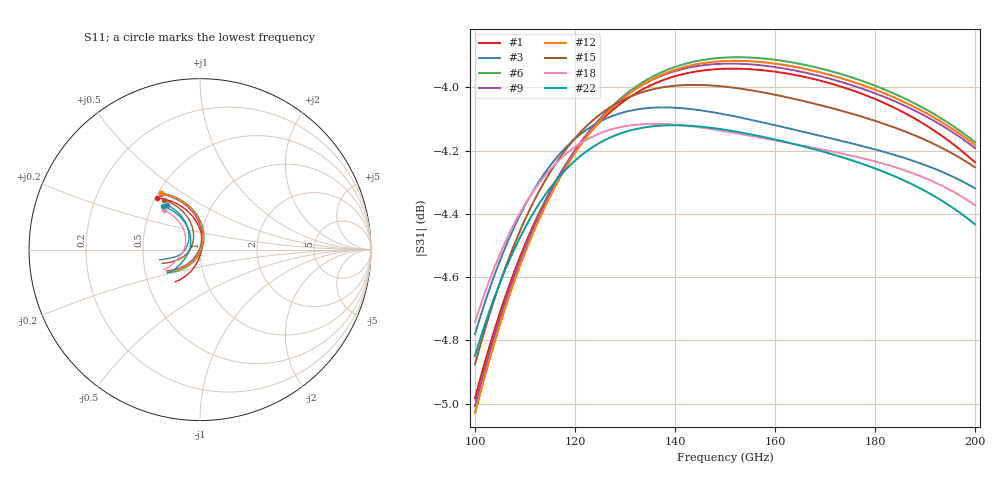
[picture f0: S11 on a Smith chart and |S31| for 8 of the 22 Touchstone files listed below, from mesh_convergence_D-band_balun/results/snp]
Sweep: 100 GHz to 200 GHz
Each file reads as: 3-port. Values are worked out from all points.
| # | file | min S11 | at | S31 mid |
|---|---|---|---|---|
| 1 | balun_amr5_final.s3p | -40.7 dB | 148 GHz | -3.9 dB at 150 GHz |
| 2 | balun_amr5_final_raw.s3p | -36.7 dB | 149 GHz | -3.9 dB at 150 GHz |
| 3 | balun_amr5_iter1.s3p | -22.2 dB | 132 GHz | -4.1 dB at 150 GHz |
| 4 | balun_amr5_iter2.s3p | -29.5 dB | 139 GHz | -4.0 dB at 150 GHz |
| 5 | balun_amr5_iter3.s3p | -45.0 dB | 145 GHz | -3.9 dB at 150 GHz |
| 6 | balun_amr5_iter4.s3p | -40.8 dB | 147 GHz | -3.9 dB at 150 GHz |
| 7 | balun_auto_mesh2.s3p | -28.5 dB | 142 GHz | -4.0 dB at 150 GHz |
| 8 | balun_mesh1um.s3p | -39.8 dB | 146 GHz | -4.0 dB at 150 GHz |
| 9 | balun_mesh1um_raw.s3p | -48.7 dB | 146 GHz | -3.9 dB at 150 GHz |
| 10 | balun_mesh2um.s3p | -28.5 dB | 141 GHz | -4.0 dB at 150 GHz |
| 11 | balun_mesh2um_order3.s3p | -51.5 dB | 147 GHz | -4.0 dB at 150 GHz |
| 12 | balun_mesh2um_order3_raw.s3p | -48.5 dB | 147 GHz | -3.9 dB at 150 GHz |
| 13 | balun_mesh2um_raw.s3p | -30.8 dB | 141 GHz | -4.0 dB at 150 GHz |
| 14 | balun_mesh3um.s3p | -24.1 dB | 138 GHz | -4.1 dB at 150 GHz |
| 15 | balun_mesh3um_raw.s3p | -25.6 dB | 138 GHz | -4.0 dB at 150 GHz |
| 16 | balun_mesh4um.s3p | -22.0 dB | 135 GHz | -4.1 dB at 150 GHz |
| 17 | balun_mesh4um_raw.s3p | -23.3 dB | 135 GHz | -4.1 dB at 150 GHz |
| 18 | balun_mesh5um.s3p | -21.0 dB | 132 GHz | -4.1 dB at 150 GHz |
| 19 | balun_mesh5um_raw.s3p | -22.2 dB | 132 GHz | -4.1 dB at 150 GHz |
| 20 | balun_skin_mesh1.s3p | -44.3 dB | 144 GHz | -4.1 dB at 150 GHz |
| 21 | balun_skin_mesh2.s3p | -28.5 dB | 141 GHz | -4.1 dB at 150 GHz |
| 22 | balun_skin_mesh3.s3p | -24.5 dB | 137 GHz | -4.1 dB at 150 GHz |
